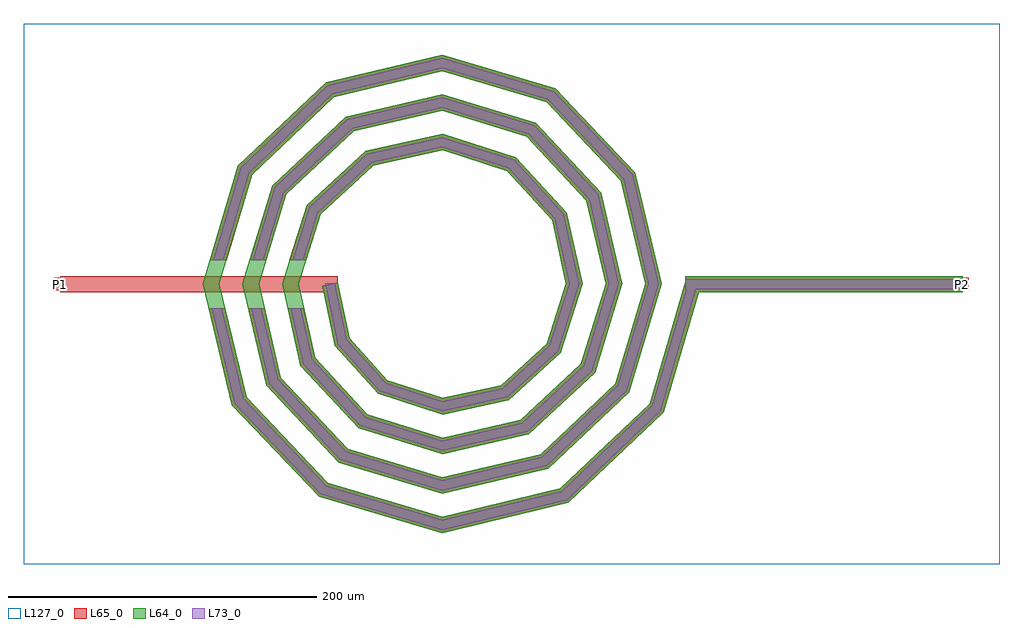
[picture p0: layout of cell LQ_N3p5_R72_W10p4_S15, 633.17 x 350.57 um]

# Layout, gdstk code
import gdstk
lib = gdstk.Library(unit=1e-6, precision=1e-09)
def R(c, l, rs):  # rectangles x0, y0, x1, y1
    for r in rs: c.add(gdstk.rectangle(r[:2], r[2:], *l))
def P(c, l, *ps):  # polygons
    for p in ps: c.add(gdstk.Polygon(p, *l))
L64_0 = (64, 0)
L65_0 = (65, 0)
L73_0 = (73, 0)
L127_0 = (127, 0)

lq_n3p5_r72_w10p4_s15 = lib.new_cell('LQ_N3p5_R72_W10p4_S15')
R(lq_n3p5_r72_w10p4_s15, L64_0, [(157.547,-5.2,337.547,5.2)])
P(lq_n3p5_r72_w10p4_s15, L64_0, [(-60.124,-35.043),(-35.624,-62.26),(0.271,-73.872),(38.235,-65.697),(67.811,-38.854),(80.294,0.251),(71.268,41.429),(42.081,73.364),(0.233,86.716),(-44.626,76.838),(-78.918,45.306),(-93.138,0.218),(-82.407,-47.825),(-48.529,-84.473),(0.205,-99.561),(51.025,-87.976),(90.029,-51.751),(105.983,0.193),(93.544,54.226),(54.972,95.585),(0.183,112.406),(-57.429,99.111),(-101.143,58.191),(-118.829,0.173),(-104.678,-60.632),(-61.41,-106.7),(0.165,-125.251),(63.836,-110.244),(112.259,-64.628),(131.674,0.157),(115.81,67.041),(67.846,117.817),(0.15,138.097),(-70.247,121.375),(-123.376,71.063),(-144.519,0.143),(-126.941,-73.453),(-74.28,-128.935),(0.138,-150.942),(76.659,-132.506),(134.495,-77.496),(157.759,1.47),(167.735,-1.47),(143.683,-83.11),(81.806,-141.963),(0.138,-161.706),(-79.903,-138.118),(-136.404,-78.59),(-155.283,0.143),(-132.552,76.697),(-75.373,130.845),(0.15,148.86),(73.491,126.986),(125.285,72.155),(142.437,0.157),(121.42,-70.286),(68.937,-119.727),(0.165,-136.014),(-67.081,-115.854),(-114.168,-65.719),(-129.591,0.173),(-110.286,63.877),(-62.499,108.61),(0.183,123.167),(60.674,104.719),(103.052,59.279),(116.744,0.193),(99.151,-57.472),(56.057,-97.495),(0.205,-110.321),(-54.271,-93.582),(-91.939,-52.834),(-103.898,0.218),(-88.012,51.071),(-49.61,86.384),(0.233,97.474),(47.873,82.441),(80.829,46.384),(91.051,0.251),(76.869,-44.677),(43.156,-75.275),(0.271,-84.627),(-41.484,-71.295),(-69.724,-39.924),(-77.915,-1.073),(-67.738,1.073)])
R(lq_n3p5_r72_w10p4_s15, L65_0, [(-247.627,-5.2,-67.627,5.2), (157.547,-5.2,337.547,5.2), (-251.627,-4,-243.627,4), (333.547,-4,341.547,4)])
P(lq_n3p5_r72_w10p4_s15, L65_0, [(-126.941,-73.453),(-74.28,-128.935),(0.138,-150.942),(76.659,-132.506),(134.495,-77.496),(157.759,1.47),(167.735,-1.47),(143.683,-83.11),(81.806,-141.964),(0.138,-161.706),(-79.903,-138.118),(-136.404,-78.59),(-151.508,-15.6),(-140.813,-15.6)],
  [(-104.678,-60.632),(-61.41,-106.7),(0.165,-125.251),(63.836,-110.244),(112.259,-64.629),(131.674,0.157),(115.81,67.041),(67.846,117.817),(0.15,138.097),(-70.247,121.375),(-123.376,71.063),(-139.845,15.6),(-150.694,15.6),(-132.552,76.697),(-75.373,130.845),(0.15,148.86),(73.491,126.986),(125.285,72.155),(142.437,0.157),(121.42,-70.286),(68.937,-119.727),(0.165,-136.014),(-67.081,-115.854),(-114.168,-65.719),(-125.899,-15.6),(-115.218,-15.6)],
  [(-82.407,-47.825),(-48.529,-84.473),(0.205,-99.561),(51.025,-87.976),(90.029,-51.751),(105.983,0.193),(93.544,54.226),(54.972,95.585),(0.183,112.406),(-57.429,99.111),(-101.143,58.191),(-114.049,15.6),(-124.916,15.6),(-110.287,63.877),(-62.499,108.61),(0.183,123.168),(60.674,104.719),(103.053,59.279),(116.744,0.193),(99.151,-57.472),(56.057,-97.495),(0.205,-110.321),(-54.271,-93.582),(-91.939,-52.835),(-100.332,-15.6),(-89.671,-15.6)],
  [(-35.624,-62.26),(0.271,-73.872),(38.235,-65.697),(67.811,-38.854),(80.294,0.251),(71.268,41.429),(42.081,73.364),(0.233,86.716),(-44.626,76.838),(-78.918,45.306),(-88.197,15.6),(-99.093,15.6),(-88.012,51.071),(-49.61,86.384),(0.233,97.474),(47.874,82.441),(80.829,46.384),(91.051,0.251),(76.869,-44.678),(43.156,-75.276),(0.271,-84.627),(-41.484,-71.295),(-69.724,-39.924),(-77.915,-1.073),(-67.738,1.073),(-60.124,-35.044)])
R(lq_n3p5_r72_w10p4_s15, L73_0, [(157.547,-3.2,337.547,3.2)])
P(lq_n3p5_r72_w10p4_s15, L73_0, [(-128.761,-74.441),(-75.361,-130.701),(0.085,-153.012),(77.649,-134.325),(136.262,-78.576),(159.677,0.904),(165.817,0.904),(141.916,-82.03),(80.816,-140.145),(0.085,-159.636),(-78.822,-136.352),(-134.584,-77.602),(-149.451,-15.6),(-142.87,-15.6)],
  [(-106.503,-61.61),(-62.501,-108.461),(0.101,-127.321),(64.817,-112.067),(114.02,-65.717),(133.744,0.097),(117.632,68.025),(68.932,119.581),(0.092,140.167),(-71.232,123.196),(-125.141,72.147),(-141.931,15.6),(-148.607,15.6),(-130.788,75.614),(-74.387,129.024),(0.092,146.79),(72.406,125.223),(123.463,71.172),(140.367,0.097),(119.658,-69.198),(67.956,-117.903),(0.101,-133.944),(-65.991,-114.093),(-112.343,-64.74),(-123.845,-15.6),(-117.272,-15.6)],
  [(-84.24,-48.788),(-49.633,-86.225),(0.126,-101.63),(51.993,-89.807),(91.783,-52.851),(108.053,0.119),(95.372,55.198),(56.068,97.342),(0.112,114.476),(-58.404,100.938),(-102.901,59.285),(-116.139,15.6),(-122.826,15.6),(-108.528,62.784),(-61.524,106.783),(0.112,121.098),(59.578,102.963),(101.224,58.307),(114.675,0.119),(97.397,-56.372),(55.089,-95.665),(0.126,-108.252),(-53.167,-91.83),(-90.106,-51.871),(-98.282,-15.6),(-91.721,-15.6)],
  [(-36.751,-63.998),(0.167,-75.94),(39.181,-67.539),(69.553,-39.974),(82.363,0.154),(73.107,42.382),(43.195,75.11),(0.144,88.785),(-45.584,78.674),(-80.667,46.415),(-90.293,15.6),(-96.997,15.6),(-86.263,49.963),(-48.652,84.548),(0.144,95.405),(46.76,80.696),(78.99,45.431),(88.982,0.154),(75.127,-43.558),(42.209,-73.433),(0.167,-82.559),(-40.357,-69.558),(-67.878,-38.985),(-75.958,0.66),(-69.695,0.66),(-61.97,-35.982)])
R(lq_n3p5_r72_w10p4_s15, L127_0, [(-271.627,-181.706,361.547,168.86)])
lq_n3p5_r72_w10p4_s15.add(gdstk.Label('P2', (337.547,0), layer=65, texttype=0))
lq_n3p5_r72_w10p4_s15.add(gdstk.Label('P1', (-247.627,0), layer=65, texttype=0))
lq_n3p5_r72_w10p4_s15.add(gdstk.Label('P2', (341.547,0), layer=145, texttype=0))
lq_n3p5_r72_w10p4_s15.add(gdstk.Label('P1', (-251.627,0), layer=145, texttype=0))

lib.write_gds('LQ_N3p5_R72_W10p4_S15.gds')
